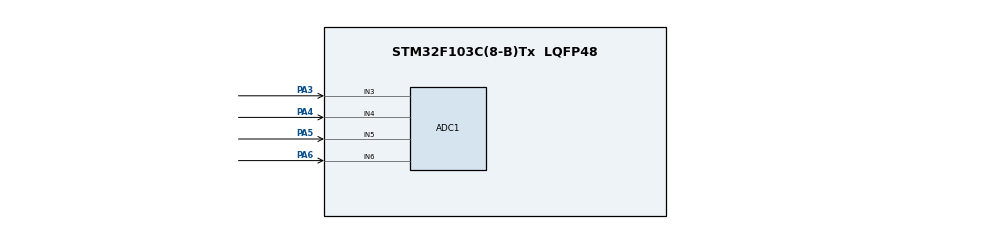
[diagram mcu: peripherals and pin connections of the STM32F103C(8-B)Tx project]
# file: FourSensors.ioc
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ADC1.Channel-5\#ChannelRegularConversion=ADC_CHANNEL_3
ADC1.Channel-6\#ChannelRegularConversion=ADC_CHANNEL_4
ADC1.Channel-7\#ChannelRegularConversion=ADC_CHANNEL_5
ADC1.Channel-8\#ChannelRegularConversion=ADC_CHANNEL_6
ADC1.ContinuousConvMode=ENABLE
ADC1.NbrOfConversion=4
ADC1.NbrOfConversionFlag=1
ADC1.Rank-5\#ChannelRegularConversion=1
ADC1.Rank-6\#ChannelRegularConversion=2
ADC1.Rank-7\#ChannelRegularConversion=3
ADC1.Rank-8\#ChannelRegularConversion=4
ADC1.SamplingTime-5\#ChannelRegularConversion=ADC_SAMPLETIME_239CYCLES_5
ADC1.SamplingTime-6\#ChannelRegularConversion=ADC_SAMPLETIME_239CYCLES_5
ADC1.SamplingTime-7\#ChannelRegularConversion=ADC_SAMPLETIME_239CYCLES_5
ADC1.SamplingTime-8\#ChannelRegularConversion=ADC_SAMPLETIME_239CYCLES_5
ADC1.master=1
Dma.ADC1.0.Direction=DMA_PERIPH_TO_MEMORY
Dma.ADC1.0.Instance=DMA1_Channel1
Dma.ADC1.0.MemDataAlignment=DMA_MDATAALIGN_HALFWORD
Dma.ADC1.0.MemInc=DMA_MINC_ENABLE
Dma.ADC1.0.Mode=DMA_CIRCULAR
Dma.ADC1.0.PeriphDataAlignment=DMA_PDATAALIGN_HALFWORD
Dma.ADC1.0.PeriphInc=DMA_PINC_DISABLE
Dma.ADC1.0.Priority=DMA_PRIORITY_LOW
Dma.Request0=ADC1
Mcu.Family=STM32F1
Mcu.Name=STM32F103C(8-B)Tx
Mcu.Package=LQFP48
NVIC.DMA1_Channel1_IRQn=true\:0\:0\:false\:false\:true\:false\:true\:true
NVIC.PriorityGroup=NVIC_PRIORITYGROUP_4
PA3.Signal=ADCx_IN3
PA4.Signal=ADCx_IN4
PA5.Signal=ADCx_IN5
PA6.Signal=ADCx_IN6
ProjectManager.HeapSize=0x200
ProjectManager.StackSize=0x400
ProjectManager.TargetToolchain=STM32CubeIDE
RCC.APB1Freq_Value=8000000
RCC.APB2Freq_Value=8000000
SH.ADCx_IN3.0=ADC1_IN3,IN3
SH.ADCx_IN4.0=ADC1_IN4,IN4
SH.ADCx_IN5.0=ADC1_IN5,IN5
SH.ADCx_IN6.0=ADC1_IN6,IN6
VP_SYS_VS_ND.Mode=No_Debug
board=custom

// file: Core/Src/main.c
/* USER CODE BEGIN Header */
/**
  ******************************************************************************
  * @file           : main.c
  * @brief          : Main program body
  ******************************************************************************
  * @attention
  *
  * Copyright (c) 2026 STMicroelectronics.
  * All rights reserved.
  *
  * This software is licensed under terms that can be found in the LICENSE file
  * in the root directory of this software component.
  * If no LICENSE file comes with this software, it is provided AS-IS.
  *
  ******************************************************************************
  */
/* USER CODE END Header */
#include "main.h"

/* USER CODE BEGIN Includes */
#include <string.h>
/* USER CODE END Includes */

ADC_HandleTypeDef hadc1;
DMA_HandleTypeDef hdma_adc1;

/* USER CODE BEGIN PV */
#define DISPLAY_RESISTANCE 1  /* 1 = display resistance (Ohms/K/M), 0 = display raw ADC (0-4095) */

/* DMA circular buffer for 4 ADC channels - must be volatile and in static/global RAM */
volatile uint16_t adc_data[4] = {0};

/* Nominal maximum resistance for potentiometers: P1=1K, P2=10K, P3=100K, P4=1M */
static const float POT_NOMINAL_OHMS[4] = {1000.0f, 10000.0f, 100000.0f, 1000000.0f};
/* USER CODE END PV */

void SystemClock_Config(void);
static void MX_GPIO_Init(void);
static void MX_DMA_Init(void);
static void MX_ADC1_Init(void);

/* USER CODE BEGIN 0 */
/**
  * @brief  Formats ADC measurement into a resistance string strictly <= 4 chars
  * @param  adc_val: Raw 12-bit ADC value (0-4095)
  * @param  r_max: Nominal potentiometer maximum resistance in Ohms
  * @param  out_str: Output character buffer (minimum 5 bytes for 4 chars + null terminator)
  */
static void Format_Resistance(uint16_t adc_val, float r_max, char *out_str)
{
  char temp[16];
  uint32_t raw_adc = (uint32_t)(adc_val & 0x0FFFU);
  uint32_t r = (uint32_t)(((uint64_t)raw_adc * (uint64_t)(r_max + 0.5f) + 2047ULL) / 4095ULL);

  if (r == 0U)
  {
    snprintf(temp, sizeof(temp), "0");
  }
  else if (r_max <= 1000.0f && r <= 1000U)
  {
    snprintf(temp, sizeof(temp), "%lu", (unsigned long)r);
  }
  else if (r < 1000U)
  {
    snprintf(temp, sizeof(temp), "%lu", (unsigned long)r);
  }
  else if (r < 9950U)
  {
    uint32_t val_x10 = (r + 50U) / 100U;
    if (val_x10 >= 100U)
    {
      snprintf(temp, sizeof(temp), "10K");
    }
    else
    {
      uint32_t whole = val_x10 / 10U;
      uint32_t frac = val_x10 % 10U;
      snprintf(temp, sizeof(temp), "%lu.%luK", (unsigned long)whole, (unsigned long)frac);
    }
  }
  else if (r < 999500U)
  {
    uint32_t k_val = (r + 500U) / 1000U;
    snprintf(temp, sizeof(temp), "%luK", (unsigned long)k_val);
  }
  else
  {
    uint32_t val_x10 = (r + 50000U) / 100000U;
    uint32_t whole = val_x10 / 10U;
    uint32_t frac = val_x10 % 10U;
    snprintf(temp, sizeof(temp), "%lu.%luM", (unsigned long)whole, (unsigned long)frac);
  }

  strncpy(out_str, temp, 4);
  out_str[4] = '\0';
}
/* USER CODE END 0 */

int main(void)
{

  /* USER CODE BEGIN 1 */
	// 2.5/5  12bit 011111111101
	// 111111111010

  /* USER CODE END 1 */

  /* MCU Configuration--------------------------------------------------------*/

  /* Reset of all peripherals, Initializes the Flash interface and the Systick. */
  HAL_Init();

  /* USER CODE BEGIN Init */
  LCD_8 l = {
  		  .EN  = { .port = GPIOA, .pin = GPIO_PIN_0 },
  		  .RS  = { .port = GPIOA, .pin = GPIO_PIN_1 },
  		  .RW  = { .port = GPIOA, .pin = GPIO_PIN_2 },
  		  .DB7 = { .port = GPIOB, .pin = GPIO_PIN_7 },
  		  .DB6 = { .port = GPIOB, .pin = GPIO_PIN_6 },
  		  .DB5 = { .port = GPIOB, .pin = GPIO_PIN_5 },
  		  .DB4 = { .port = GPIOB, .pin = GPIO_PIN_4 },
  		  .DB3 = { .port = GPIOB, .pin = GPIO_PIN_3 },
  		  .DB2 = { .port = GPIOB, .pin = GPIO_PIN_2 },
  		  .DB1 = { .port = GPIOB, .pin = GPIO_PIN_1 },
  		  .DB0 = { .port = GPIOB, .pin = GPIO_PIN_0 }
    };
    vidLCDInit(l);

  /* USER CODE END Init */

  /* Configure the system clock */
  SystemClock_Config();

  /* Initialize all configured peripherals */
  MX_GPIO_Init();
  MX_DMA_Init();
  MX_ADC1_Init();
  /* USER CODE BEGIN 2 */
  /* Display initial welcome screen */
  vidLCDScreenClr(l);
  vidLCDSetCursor(l, R1, C1);
  vidLCDWriteStr(l, (uint8_t *)"Assiut Robotics");
  vidLCDSetCursor(l, R2, C1);
  vidLCDWriteStr(l, (uint8_t *)"Task 2: ADC+DMA");
  HAL_Delay(1000);

  /* Calibrate ADC */
  HAL_ADCEx_Calibration_Start(&hadc1);
  HAL_Delay(50);

  /* Start ADC Conversions with DMA in Circular Mode */
  if (HAL_ADC_Start_DMA(&hadc1, (uint32_t *)adc_data, 4) != HAL_OK)
  {
    Error_Handler();
  }

  /* Disable DMA Interrupt in NVIC to eliminate Proteus CPU load freeze (~4000 ISRs/sec).
   * Circular DMA transfers data into adc_data in SRAM continuously in hardware. */
  HAL_NVIC_DisableIRQ(DMA1_Channel1_IRQn);

  vidLCDScreenClr(l);

  char p1_str[8], p2_str[8], p3_str[8], p4_str[8];
  char line1[32];
  char line2[32];
  /* USER CODE END 2 */

  /* Infinite loop */
  /* USER CODE BEGIN WHILE */
  while (1)
  {
#if DISPLAY_RESISTANCE
    /* Convert raw ADC values to formatted resistance strings (max 4 chars each) */
    Format_Resistance(adc_data[0], POT_NOMINAL_OHMS[0], p1_str);
    Format_Resistance(adc_data[1], POT_NOMINAL_OHMS[1], p2_str);
    Format_Resistance(adc_data[2], POT_NOMINAL_OHMS[2], p3_str);
    Format_Resistance(adc_data[3], POT_NOMINAL_OHMS[3], p4_str);

    /* Exactly 16 characters per line: "P1:xxxx  P2:xxxx" */
    snprintf(line1, sizeof(line1), "P1:%-4s  P2:%-4s", p1_str, p2_str);
    snprintf(line2, sizeof(line2), "P3:%-4s  P4:%-4s", p3_str, p4_str);
#else
    /* Raw ADC values (0-4095) formatted to 4 chars */
    snprintf(line1, sizeof(line1), "P1:%-4u  P2:%-4u", adc_data[0], adc_data[1]);
    snprintf(line2, sizeof(line2), "P3:%-4u  P4:%-4u", adc_data[2], adc_data[3]);
#endif

    /* Overwrite LCD lines directly without clearing (eliminates screen flicker) */
    vidLCDSetCursor(l, R1, C1);
    vidLCDWriteStr(l, (uint8_t *)line1);

    vidLCDSetCursor(l, R2, C1);
    vidLCDWriteStr(l, (uint8_t *)line2);

    HAL_Delay(100);
    /* USER CODE END WHILE */

  }
}

void SystemClock_Config(void)
{
  RCC_OscInitTypeDef RCC_OscInitStruct = {0};
  RCC_ClkInitTypeDef RCC_ClkInitStruct = {0};
  RCC_PeriphCLKInitTypeDef PeriphClkInit = {0};

  /** Initializes the RCC Oscillators according to the specified parameters
  * in the RCC_OscInitTypeDef structure.
  */
  RCC_OscInitStruct.OscillatorType = RCC_OSCILLATORTYPE_HSI;
  RCC_OscInitStruct.HSIState = RCC_HSI_ON;
  RCC_OscInitStruct.HSICalibrationValue = RCC_HSICALIBRATION_DEFAULT;
  RCC_OscInitStruct.PLL.PLLState = RCC_PLL_NONE;
  if (HAL_RCC_OscConfig(&RCC_OscInitStruct) != HAL_OK)
  {
    Error_Handler();
  }

  /** Initializes the CPU, AHB and APB buses clocks
  */
  RCC_ClkInitStruct.ClockType = RCC_CLOCKTYPE_HCLK|RCC_CLOCKTYPE_SYSCLK
                              |RCC_CLOCKTYPE_PCLK1|RCC_CLOCKTYPE_PCLK2;
  RCC_ClkInitStruct.SYSCLKSource = RCC_SYSCLKSOURCE_HSI;
  RCC_ClkInitStruct.AHBCLKDivider = RCC_SYSCLK_DIV1;
  RCC_ClkInitStruct.APB1CLKDivider = RCC_HCLK_DIV1;
  RCC_ClkInitStruct.APB2CLKDivider = RCC_HCLK_DIV1;

  if (HAL_RCC_ClockConfig(&RCC_ClkInitStruct, FLASH_LATENCY_0) != HAL_OK)
  {
    Error_Handler();
  }
  PeriphClkInit.PeriphClockSelection = RCC_PERIPHCLK_ADC;
  PeriphClkInit.AdcClockSelection = RCC_ADCPCLK2_DIV2;
  if (HAL_RCCEx_PeriphCLKConfig(&PeriphClkInit) != HAL_OK)
  {
    Error_Handler();
  }
}

static void MX_ADC1_Init(void)
{

  ADC_ChannelConfTypeDef sConfig = {0};

  /** Common config
  */
  hadc1.Instance = ADC1;
  hadc1.Init.ScanConvMode = ADC_SCAN_ENABLE;
  hadc1.Init.ContinuousConvMode = ENABLE;
  hadc1.Init.DiscontinuousConvMode = DISABLE;
  hadc1.Init.ExternalTrigConv = ADC_SOFTWARE_START;
  hadc1.Init.DataAlign = ADC_DATAALIGN_RIGHT;
  hadc1.Init.NbrOfConversion = 4;
  if (HAL_ADC_Init(&hadc1) != HAL_OK)
  {
    Error_Handler();
  }

  /** Configure Regular Channel
  */
  sConfig.Channel = ADC_CHANNEL_3;
  sConfig.Rank = ADC_REGULAR_RANK_1;
  sConfig.SamplingTime = ADC_SAMPLETIME_239CYCLES_5;
  if (HAL_ADC_ConfigChannel(&hadc1, &sConfig) != HAL_OK)
  {
    Error_Handler();
  }

  /** Configure Regular Channel
  */
  sConfig.Channel = ADC_CHANNEL_4;
  sConfig.Rank = ADC_REGULAR_RANK_2;
  if (HAL_ADC_ConfigChannel(&hadc1, &sConfig) != HAL_OK)
  {
    Error_Handler();
  }

  /** Configure Regular Channel
  */
  sConfig.Channel = ADC_CHANNEL_5;
  sConfig.Rank = ADC_REGULAR_RANK_3;
  if (HAL_ADC_ConfigChannel(&hadc1, &sConfig) != HAL_OK)
  {
    Error_Handler();
  }

  /** Configure Regular Channel
  */
  sConfig.Channel = ADC_CHANNEL_6;
  sConfig.Rank = ADC_REGULAR_RANK_4;
  if (HAL_ADC_ConfigChannel(&hadc1, &sConfig) != HAL_OK)
  {
    Error_Handler();
  }

}

static void MX_DMA_Init(void)
{

  /* DMA controller clock enable */
  __HAL_RCC_DMA1_CLK_ENABLE();

  /* DMA interrupt init */
  /* DMA1_Channel1_IRQn interrupt configuration */
  HAL_NVIC_SetPriority(DMA1_Channel1_IRQn, 0, 0);
  HAL_NVIC_EnableIRQ(DMA1_Channel1_IRQn);

}

static void MX_GPIO_Init(void)
{

  /* GPIO Ports Clock Enable */
  __HAL_RCC_GPIOA_CLK_ENABLE();

}

void Error_Handler(void)
{
  __disable_irq();
  while (1)
  {
  }
}
